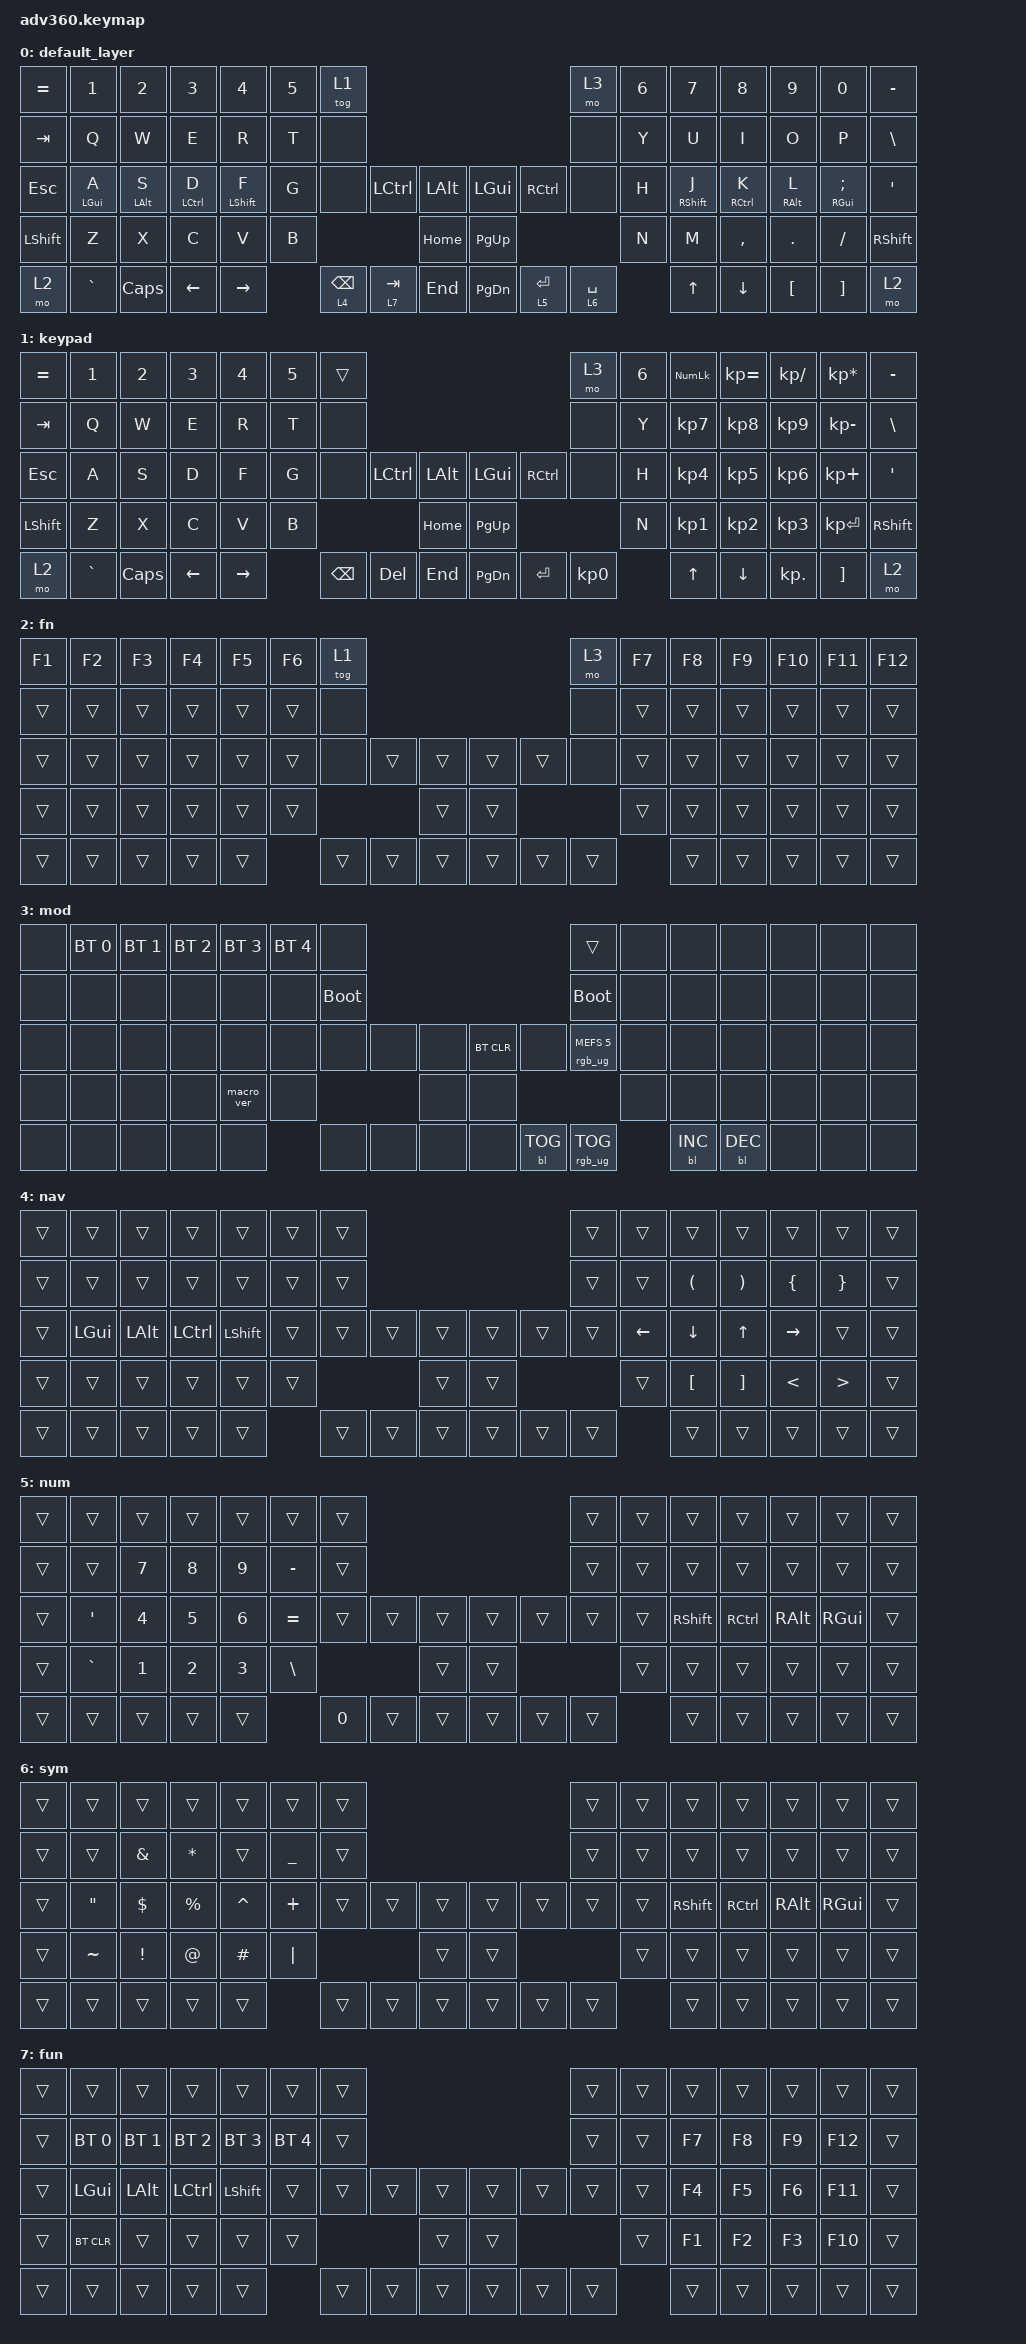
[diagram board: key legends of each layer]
#include <behaviors.dtsi>
#include <dt-bindings/zmk/backlight.h>
#include <dt-bindings/zmk/bt.h>
#include <dt-bindings/zmk/keys.h>
#include <dt-bindings/zmk/rgb.h>

/ {
    behaviors {
        #include "macros.dtsi"
      #include "version.dtsi"
      #ifndef VERSION_MACRO

        macro_ver: macro_ver {
            compatible = "zmk,behavior-macro";
            label = "macro_version";
            #binding-cells = <0>;
            bindings = <&kp RET>;
        };

        #endif

        hm: homerow_mods {
            compatible = "zmk,behavior-hold-tap";
            label = "HOMEROW_MODS";
            #binding-cells = <2>;
            tapping-term-ms = <200>;
            quick_tap_ms = <175>;
            flavor = "tap-preferred";
            bindings = <&kp>, <&kp>;
        };
    };

    macros {
    };

    combos {
        compatible = "zmk,combos";

        combo_esc {
            bindings = <&kp ESCAPE>;
            key-positions = <29 44>;
        };

        combo_caps_word {
            bindings = <&caps_word>;
            key-positions = <47 58>;
        };
    };

    keymap {
        compatible = "zmk,keymap";

        default_layer {
            bindings = <
&kp EQUAL  &kp N1      &kp N2      &kp N3       &kp N4        &kp N5  &tog 1                                                          &mo 3        &kp N6  &kp N7        &kp N8       &kp N9      &kp N0         &kp MINUS
&kp TAB    &kp Q       &kp W       &kp E        &kp R         &kp T   &none                                                           &none        &kp Y   &kp U         &kp I        &kp O       &kp P          &kp BSLH
&kp ESC    &hm LGUI A  &hm LALT S  &hm LCTRL D  &hm LSHIFT F  &kp G   &none            &kp LCTRL  &kp LALT      &kp LGUI   &kp RCTRL  &none        &kp H   &hm RSHIFT J  &hm RCTRL K  &hm RALT L  &hm RGUI SEMI  &kp SQT
&kp LSHFT  &kp Z       &kp X       &kp C        &kp V         &kp B                               &kp HOME      &kp PG_UP                          &kp N   &kp M         &kp COMMA    &kp DOT     &kp FSLH       &kp RSHFT
&mo 2      &kp GRAVE   &kp CAPS    &kp LEFT     &kp RIGHT             &lt 4 BACKSPACE  &lt 7 TAB  &kp END       &kp PG_DN  &lt 5 RET  &lt 6 SPACE          &kp UP        &kp DOWN     &kp LBKT    &kp RBKT       &mo 2
            >;
        };

        keypad {
            bindings = <
&kp EQUAL  &kp N1     &kp N2    &kp N3    &kp N4     &kp N5  &trans                                                   &mo 3      &kp N6  &kp KP_NUM  &kp KP_EQUAL  &kp KP_DIVIDE  &kp KP_MULTIPLY  &kp MINUS
&kp TAB    &kp Q      &kp W     &kp E     &kp R      &kp T   &none                                                    &none      &kp Y   &kp KP_N7   &kp KP_N8     &kp KP_N9      &kp KP_MINUS     &kp BSLH
&kp ESC    &kp A      &kp S     &kp D     &kp F      &kp G   &none     &kp LCTRL  &kp LALT      &kp LGUI   &kp RCTRL  &none      &kp H   &kp KP_N4   &kp KP_N5     &kp KP_N6      &kp KP_PLUS      &kp SQT
&kp LSHFT  &kp Z      &kp X     &kp C     &kp V      &kp B                        &kp HOME      &kp PG_UP                        &kp N   &kp KP_N1   &kp KP_N2     &kp KP_N3      &kp KP_ENTER     &kp RSHFT
&mo 2      &kp GRAVE  &kp CAPS  &kp LEFT  &kp RIGHT          &kp BSPC  &kp DEL    &kp END       &kp PG_DN  &kp ENTER  &kp KP_N0          &kp UP      &kp DOWN      &kp KP_DOT     &kp RBKT         &mo 2
            >;
        };

        fn {
            bindings = <
&kp F1  &kp F2  &kp F3  &kp F4  &kp F5  &kp F6  &tog 1                                      &mo 3   &kp F7  &kp F8  &kp F9  &kp F10  &kp F11  &kp F12
&trans  &trans  &trans  &trans  &trans  &trans  &none                                       &none   &trans  &trans  &trans  &trans   &trans   &trans
&trans  &trans  &trans  &trans  &trans  &trans  &none   &trans  &trans      &trans  &trans  &none   &trans  &trans  &trans  &trans   &trans   &trans
&trans  &trans  &trans  &trans  &trans  &trans                  &trans      &trans                  &trans  &trans  &trans  &trans   &trans   &trans
&trans  &trans  &trans  &trans  &trans          &trans  &trans  &trans      &trans  &trans  &trans          &trans  &trans  &trans   &trans   &trans
            >;
        };

        mod {
            bindings = <
&none  &bt BT_SEL 0  &bt BT_SEL 1  &bt BT_SEL 2  &bt BT_SEL 3  &bt BT_SEL 4  &none                                                  &trans                  &none  &none       &none       &none  &none  &none
&none  &none         &none         &none         &none         &none         &bootloader                                            &bootloader             &none  &none       &none       &none  &none  &none
&none  &none         &none         &none         &none         &none         &none        &none  &none      &bt BT_CLR  &none       &rgb_ug RGB_MEFS_CMD 5  &none  &none       &none       &none  &none  &none
&none  &none         &none         &none         &macro_ver    &none                             &none      &none                                           &none  &none       &none       &none  &none  &none
&none  &none         &none         &none         &none                       &none        &none  &none      &none       &bl BL_TOG  &rgb_ug RGB_TOG                &bl BL_INC  &bl BL_DEC  &none  &none  &none
            >;
        };

        nav {
            bindings = <
&trans  &trans    &trans    &trans     &trans      &trans  &trans                                      &trans  &trans    &trans    &trans             &trans          &trans    &trans
&trans  &trans    &trans    &trans     &trans      &trans  &trans                                      &trans  &trans    &kp LPAR  &kp RPAR           &kp LEFT_BRACE  &kp RBRC  &trans
&trans  &kp LGUI  &kp LALT  &kp LCTRL  &kp LSHIFT  &trans  &trans  &trans  &trans      &trans  &trans  &trans  &kp LEFT  &kp DOWN  &kp UP_ARROW       &kp RIGHT       &trans    &trans
&trans  &trans    &trans    &trans     &trans      &trans                  &trans      &trans                  &trans    &kp LBKT  &kp RIGHT_BRACKET  &kp LT          &kp GT    &trans
&trans  &trans    &trans    &trans     &trans              &trans  &trans  &trans      &trans  &trans  &trans            &trans    &trans             &trans          &trans    &trans
            >;
        };

        num {
            bindings = <
&trans  &trans     &trans  &trans  &trans  &trans     &trans                                      &trans  &trans  &trans     &trans     &trans    &trans    &trans
&trans  &trans     &kp N7  &kp N8  &kp N9  &kp MINUS  &trans                                      &trans  &trans  &trans     &trans     &trans    &trans    &trans
&trans  &kp SQT    &kp N4  &kp N5  &kp N6  &kp EQUAL  &trans  &trans  &trans      &trans  &trans  &trans  &trans  &kp RSHFT  &kp RCTRL  &kp RALT  &kp RGUI  &trans
&trans  &kp GRAVE  &kp N1  &kp N2  &kp N3  &kp BSLH                   &trans      &trans                  &trans  &trans     &trans     &trans    &trans    &trans
&trans  &trans     &trans  &trans  &trans             &kp N0  &trans  &trans      &trans  &trans  &trans          &trans     &trans     &trans    &trans    &trans
            >;
        };

        sym {
            bindings = <
&trans  &trans     &trans    &trans     &trans     &trans     &trans                                      &trans  &trans  &trans      &trans     &trans         &trans    &trans
&trans  &trans     &kp AMPS  &kp STAR   &trans     &kp UNDER  &trans                                      &trans  &trans  &trans      &trans     &trans         &trans    &trans
&trans  &kp DQT    &kp DLLR  &kp PRCNT  &kp CARET  &kp PLUS   &trans  &trans  &trans      &trans  &trans  &trans  &trans  &kp RSHIFT  &kp RCTRL  &kp RIGHT_ALT  &kp RGUI  &trans
&trans  &kp TILDE  &kp EXCL  &kp AT     &kp HASH   &kp PIPE                   &trans      &trans                  &trans  &trans      &trans     &trans         &trans    &trans
&trans  &trans     &trans    &trans     &trans                &trans  &trans  &trans      &trans  &trans  &trans          &trans      &trans     &trans         &trans    &trans
            >;
        };

        fun {
            bindings = <
&trans  &trans        &trans        &trans        &trans          &trans        &trans                                      &trans  &trans  &trans  &trans  &trans  &trans   &trans
&trans  &bt BT_SEL 0  &bt BT_SEL 1  &bt BT_SEL 2  &bt BT_SEL 3    &bt BT_SEL 4  &trans                                      &trans  &trans  &kp F7  &kp F8  &kp F9  &kp F12  &trans
&trans  &kp LEFT_GUI  &kp LEFT_ALT  &kp LCTRL     &kp LEFT_SHIFT  &trans        &trans  &trans  &trans      &trans  &trans  &trans  &trans  &kp F4  &kp F5  &kp F6  &kp F11  &trans
&trans  &bt BT_CLR    &trans        &trans        &trans          &trans                        &trans      &trans                  &trans  &kp F1  &kp F2  &kp F3  &kp F10  &trans
&trans  &trans        &trans        &trans        &trans                        &trans  &trans  &trans      &trans  &trans  &trans          &trans  &trans  &trans  &trans   &trans
            >;
        };
    };
};
